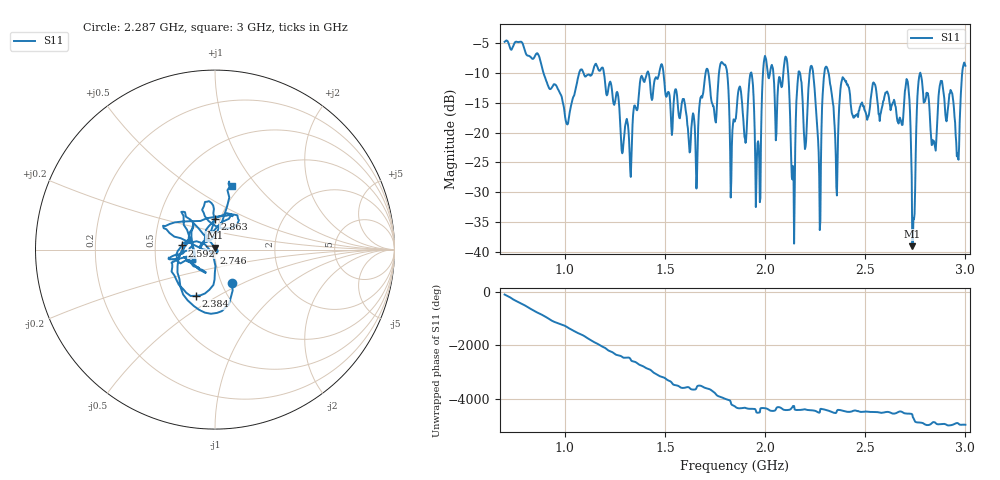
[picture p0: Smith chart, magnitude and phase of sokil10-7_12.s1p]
# HZ S RI R 50
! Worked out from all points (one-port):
!   808 points, 700 MHz to 3 GHz, reference 50 ohm
!   lowest |S11| = -39.1 dB at 2.735 GHz (marker M1), VSWR 1.02, Z = 49.8 + j1.1 ohm
!   |S11| at or under -10 dB: 1.196 GHz to 1.411 GHz (215.2 MHz wide, 16.5 % of centre); 1.493 GHz to 1.703 GHz (210.2 MHz wide, 13.2 % of centre); 2.317 GHz to 2.774 GHz (457.2 MHz wide, 18 % of centre)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
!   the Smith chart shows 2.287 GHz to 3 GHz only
!   S11 on the Smith chart (normalised r, x): 2.287 GHz: 1.12, -0.43; 2.384 GHz: 0.72, -0.40; 2.592 GHz: 0.69, +0.03; 2.746 GHz: 0.98, -0.04; 2.863 GHz: 0.94, +0.33; 3 GHz: 0.92, +0.74
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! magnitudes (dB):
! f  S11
! 700 MHz  -4.8
! 987.9 MHz  -14.5
! 1.276 GHz  -17.7
! 1.564 GHz  -14.9
! 1.789 GHz  -8.3
! 1.851 GHz  -17.8
! 1.931 GHz  -9.9
! 1.965 GHz  -21.4
! 2 GHz  -7.1
! 2.105 GHz  -7.4
! 2.139 GHz  -25.6
! 2.171 GHz  -9.7
! 2.202 GHz  -22.4
! 2.236 GHz  -9.2
! 2.27 GHz  -27.3
! 2.287 GHz  -13.7
! 2.31 GHz  -9.2
! 2.356 GHz  -29.1
! 2.384 GHz  -11.1
! 2.427 GHz  -15.1
! 2.592 GHz  -14.6
! 2.715 GHz  -12.2
! 2.735 GHz  -39.1
! 2.746 GHz  -33.6
! 2.772 GHz  -10.2
! 2.863 GHz  -15.4
! 2.96 GHz  -23.5
! 3 GHz  -8.8
